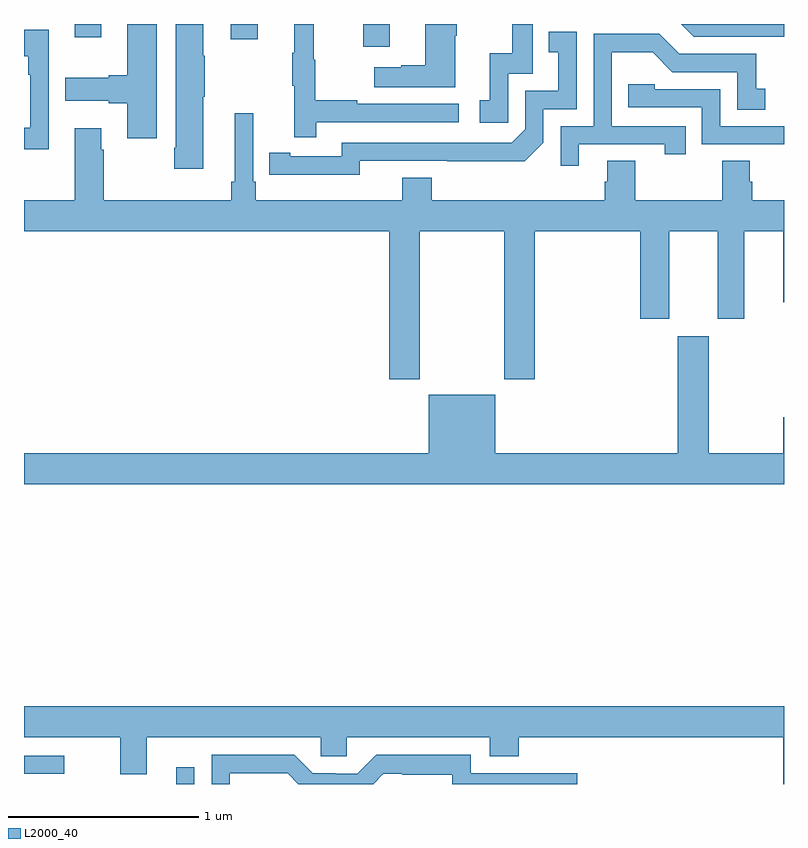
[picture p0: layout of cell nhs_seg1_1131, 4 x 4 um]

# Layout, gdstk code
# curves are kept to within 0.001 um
import gdstk
lib = gdstk.Library(unit=1e-6, precision=1e-09)
def R(c, l, rs):  # rectangles x0, y0, x1, y1
    for r in rs: c.add(gdstk.rectangle(r[:2], r[2:], *l))
def P(c, l, *ps):  # polygons
    for p in ps: c.add(gdstk.Polygon(p, *l))
L2000_40 = (2000, 40)

nhs_seg1_1131 = lib.new_cell('nhs_seg1_1131')
R(nhs_seg1_1131, L2000_40, [(173.801,506.199,173.897,506.287), (173,506.253,173.212,506.349), (174.785,510.078,174.925,510.199), (174.089,510.12,174.229,510.199), (173.267,510.129,173.407,510.199)])
P(nhs_seg1_1131, L2000_40, [(173.944,509.815),(173.952,509.815),(173.952,510.032),(173.944,510.032),(173.944,510.199),(173.798,510.199),(173.798,509.548),(173.791,509.548),(173.791,509.436),(173.944,509.436)],
  [(174.539,509.682),(175.288,509.682),(175.288,509.778),(174.755,509.778),(174.755,509.798),(174.532,509.798),(174.532,510.012),(174.524,510.012),(174.524,510.199),(174.422,510.199),(174.422,510.049),(174.411,510.049),(174.411,509.875),(174.422,509.875),(174.422,509.604),(174.539,509.604)],
  [(173.698,510.199),(173.543,510.199),(173.543,509.93),(173.447,509.93),(173.447,509.917),(173.217,509.917),(173.217,509.795),(173.447,509.795),(173.447,509.783),(173.543,509.783),(173.543,509.598),(173.698,509.598)],
  [(175.27,510.137),(175.278,510.137),(175.278,510.199),(175.112,510.199),(175.112,509.981),(174.986,509.981),(174.986,509.971),(174.843,509.971),(174.843,509.867),(175.27,509.867)],
  [(177,510.199),(176.459,510.199),(176.526,510.132),(177,510.132)],
  [(175.548,509.937),(175.677,509.937),(175.677,510.199),(175.569,510.199),(175.569,510.046),(175.451,510.046),(175.451,509.799),(175.398,509.799),(175.398,509.679),(175.548,509.679)],
  [(173.13,510.169),(173,510.169),(173,510.029),(173.022,510.029),(173.022,509.933),(173.034,509.933),(173.034,509.654),(173,509.654),(173,509.541),(173.13,509.541)],
  [(174.768,509.478),(175.636,509.477),(175.734,509.574),(175.734,509.751),(175.908,509.751),(175.908,510.157),(175.762,510.157),(175.762,510.051),(175.811,510.051),(175.811,509.847),(175.638,509.847),(175.638,509.646),(175.566,509.574),(174.672,509.574),(174.672,509.502),(174.4,509.502),(174.4,509.522),(174.292,509.522),(174.292,509.406),(174.768,509.405)],
  [(175.921,509.565),(176.372,509.565),(176.372,509.514),(176.483,509.514),(176.483,509.661),(176.094,509.661),(176.094,510.05),(176.308,510.05),(176.412,509.946),(176.754,509.946),(176.754,509.748),(176.902,509.748),(176.902,509.857),(176.853,509.857),(176.853,510.042),(176.449,510.042),(176.344,510.147),(175.998,510.147),(175.998,509.661),(175.824,509.661),(175.824,509.454),(175.921,509.454)],
  [(177,509.661),(176.664,509.661),(176.664,509.856),(176.319,509.856),(176.319,509.883),(176.179,509.883),(176.179,509.76),(176.568,509.76),(176.568,509.565),(177,509.565)],
  [(175.528,508.329),(175.688,508.329),(175.688,509.108),(176.243,509.108),(176.243,508.647),(176.395,508.647),(176.395,509.108),(176.651,509.108),(176.651,508.647),(176.791,508.647),(176.791,509.108),(176.996,509.108),(176.996,508.734),(177,508.734),(177,509.272),(176.834,509.272),(176.834,509.37),(176.821,509.37),(176.821,509.48),(176.674,509.48),(176.674,509.272),(176.217,509.272),(176.217,509.48),(176.069,509.48),(176.069,509.37),(176.057,509.37),(176.057,509.272),(175.145,509.272),(175.145,509.389),(174.992,509.389),(174.992,509.272),(174.221,509.272),(174.221,509.368),(174.207,509.368),(174.207,509.728),(174.11,509.728),(174.11,509.368),(174.091,509.368),(174.091,509.272),(173.42,509.272),(173.42,509.537),(173.407,509.537),(173.407,509.65),(173.267,509.65),(173.267,509.272),(173,509.272),(173,509.108),(174.923,509.108),(174.923,508.329),(175.083,508.329),(175.083,509.108),(175.528,509.108)],
  [(177,508.129),(176.996,508.129),(176.996,507.94),(176.605,507.94),(176.605,508.555),(176.441,508.555),(176.441,507.94),(175.48,507.94),(175.48,508.249),(175.13,508.249),(175.13,507.94),(173,507.94),(173,507.776),(177,507.776)],
  [(177,506.608),(173,506.608),(173,506.444),(173.507,506.444),(173.507,506.25),(173.647,506.25),(173.647,506.444),(174.561,506.444),(174.561,506.346),(174.699,506.346),(174.699,506.444),(175.451,506.444),(175.451,506.345),(175.604,506.345),(175.604,506.444),(176.996,506.444),(176.996,506.199),(177,506.199)],
  [(174.084,506.256),(174.387,506.256),(174.444,506.199),(174.837,506.199),(174.891,506.253),(174.991,506.253),(174.991,506.249),(175.254,506.249),(175.254,506.199),(175.912,506.199),(175.912,506.256),(175.35,506.256),(175.35,506.353),(174.853,506.353),(174.753,506.253),(174.638,506.253),(174.638,506.256),(174.519,506.256),(174.423,506.352),(173.988,506.352),(173.988,506.199),(174.084,506.199)])

lib.write_gds('nhs_seg1_1131.gds')
